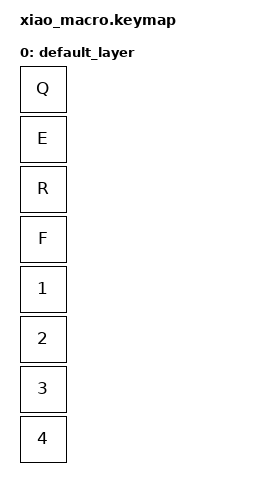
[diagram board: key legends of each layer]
#include <behaviors.dtsi>
#include <dt-bindings/zmk/keys.h>

/ {
    keymap {
        compatible = "zmk,keymap";

        default_layer {
            bindings = <
                &kp Q   // D2
                &kp E   // D3
                &kp R   // D4
                &kp F   // D5
                &kp N1  // D6
                &kp N2  // D7
                &kp N3  // D8
                &kp N4  // D9
            >;
        };
    };
};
